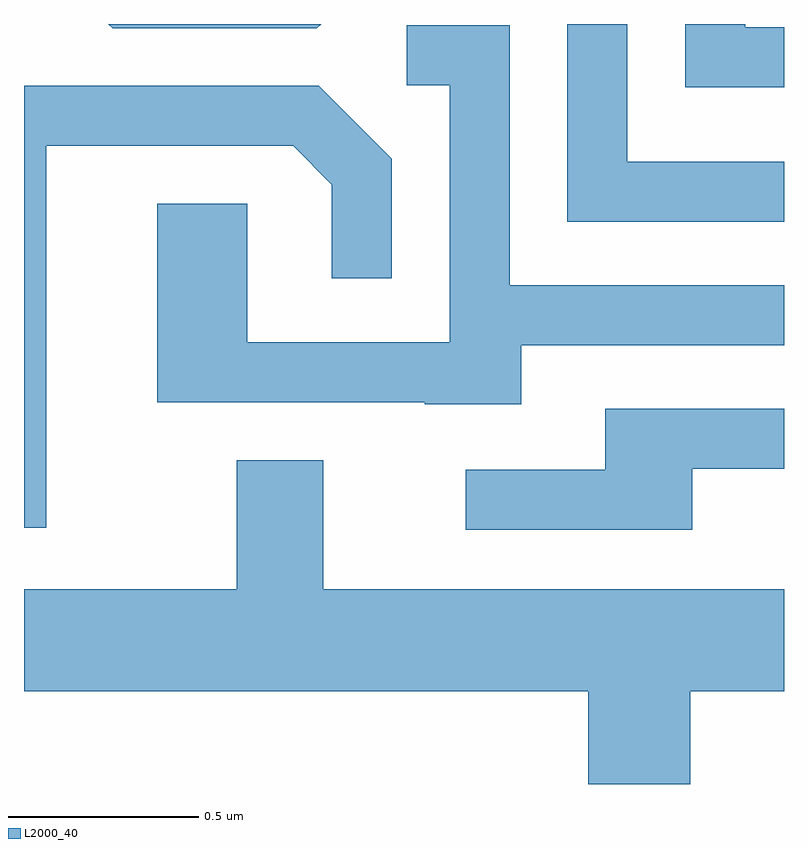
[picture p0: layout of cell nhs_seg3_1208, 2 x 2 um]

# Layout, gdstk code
import gdstk
lib = gdstk.Library(unit=1e-6, precision=1e-09)
def P(c, l, *ps):  # polygons
    for p in ps: c.add(gdstk.Polygon(p, *l))
L2000_40 = (2000, 40)

nhs_seg3_1208 = lib.new_cell('nhs_seg3_1208')
P(nhs_seg3_1208, L2000_40, [(194.393,1229.892),(193.833,1229.892),(193.844,1229.881),(194.382,1229.881)],
  [(195.611,1229.529),(195.199,1229.529),(195.199,1229.892),(195.041,1229.892),(195.041,1229.371),(195.611,1229.371)],
  [(195.611,1229.884),(195.509,1229.884),(195.509,1229.892),(195.351,1229.892),(195.351,1229.726),(195.611,1229.726)],
  [(194.919,1229.046),(195.611,1229.046),(195.611,1229.204),(194.889,1229.204),(194.889,1229.889),(194.618,1229.889),(194.618,1229.731),(194.731,1229.731),(194.731,1229.054),(194.199,1229.054),(194.199,1229.419),(193.961,1229.419),(193.961,1228.896),(194.665,1228.896),(194.665,1228.891),(194.919,1228.891)],
  [(193.669,1229.571),(194.319,1229.571),(194.421,1229.469),(194.421,1229.223),(194.579,1229.223),(194.579,1229.537),(194.387,1229.729),(193.611,1229.729),(193.611,1228.566),(193.669,1228.566)],
  [(195.369,1228.721),(195.611,1228.721),(195.611,1228.879),(195.141,1228.879),(195.141,1228.719),(194.773,1228.719),(194.773,1228.561),(195.369,1228.561)],
  [(195.364,1228.136),(195.611,1228.136),(195.611,1228.404),(194.399,1228.404),(194.399,1228.744),(194.171,1228.744),(194.171,1228.404),(193.611,1228.404),(193.611,1228.136),(195.096,1228.136),(195.096,1227.892),(195.364,1227.892)])

lib.write_gds('nhs_seg3_1208.gds')
